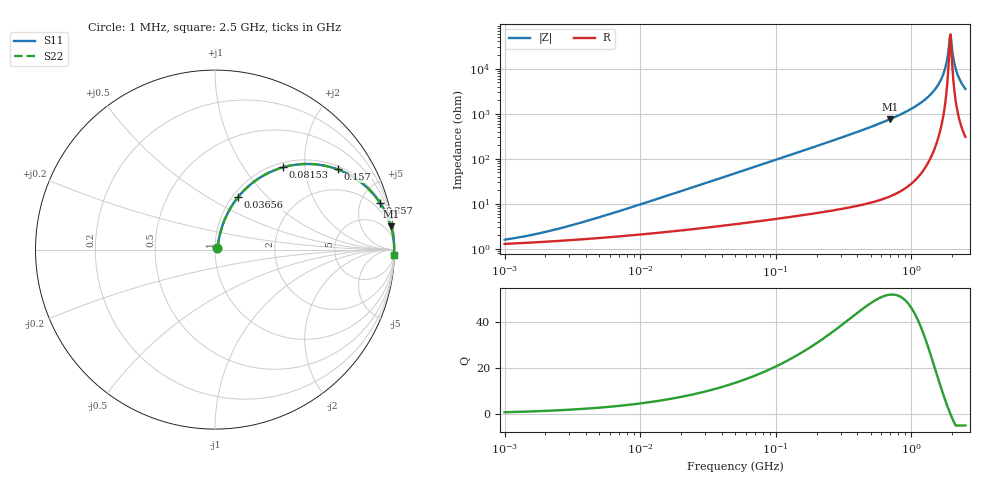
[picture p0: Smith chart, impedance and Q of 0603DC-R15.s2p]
# MHz  S  MA  R  50
!Freq  MagS11  AngS11  MagS21  AngS21  MagS12  AngS12  MagS22  AngS22
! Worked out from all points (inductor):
!   801 points, 1 MHz to 2.5 GHz, reference 50 ohm
!   read as one part in series: L = 150 nH near 5.702 MHz
!   highest Q = 51.7 at 694.3 MHz (marker M1), where L = 172 nH
!   self-resonance near 1.92 GHz
!   S11 on the Smith chart (normalised r, x): 1 MHz: 1.03, +0.02; 36.56 MHz: 1.06, +0.69; 81.53 MHz: 1.08, +1.54; 157 MHz: 1.11, +2.98; 357 MHz: 1.17, +6.97; 2.5 GHz: 7, -70
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1  0.0157 35.8  0.9873 -0.5  0.9873 -0.5  0.0157 35.8
3.70813  0.03788 63.2  0.9835 -2.0  0.9835 -2.0  0.03788 63.2
13.61641  0.1264 72.8  0.9703 -7.2  0.9703 -7.2  0.1264 72.8
36.56389  0.3183 66.3  0.9197 -18.5  0.9197 -18.5  0.3183 66.3
50  0.4157 61.3  0.8792 -24.5  0.8792 -24.5  0.4157 61.3
81.53447  0.595 50.4  0.7718 -36.4  0.7718 -36.4  0.595 50.4
157.0069  0.8165 33.2  0.5478 -54.7  0.5478 -54.7  0.8165 33.2
185.4065  0.8576 29.1  0.486 -59.0  0.486 -59.0  0.8576 29.1
357.0281  0.9551 15.9  0.2741 -72.7  0.2741 -72.7  0.9551 15.9
680.8203  0.9882 7.8  0.135 -81.1  0.135 -81.1  0.9882 7.8
694.2683  0.9888 7.6  0.1317 -81.3  0.1317 -81.3  0.9888 7.6
1110.206  0.9964 3.7  0.06396 -84.9  0.06396 -84.9  0.9964 3.7
1474.277  0.9981 1.7  0.03027 -85.5  0.03027 -85.5  0.9981 1.7
1724.002  0.9983 0.7  0.01289 -82.3  0.01289 -82.3  0.9983 0.7
1792.782  0.9983 0.5  0.008651 -78.7  0.008651 -78.7  0.9983 0.5
1882.629  0.9983 0.2  0.003572 -61.5  0.003572 -61.5  0.9983 0.2
1938.684  0.9983 -0.0  0.001744 2.0  0.001744 2.0  0.9983 -0.0
1996.408  0.9982 -0.2  0.003729 61.0  0.003729 61.0  0.9982 -0.2
2076.055  0.9981 -0.4  0.007775 75.6  0.007775 75.6  0.9981 -0.4
2180.098  0.9979 -0.7  0.01306 80.5  0.01306 80.5  0.9979 -0.7
2334.576  0.9976 -1.2  0.02058 82.7  0.02058 82.7  0.9976 -1.2
2500  0.9972 -1.6  0.02821 83.4  0.02821 83.4  0.9972 -1.6
